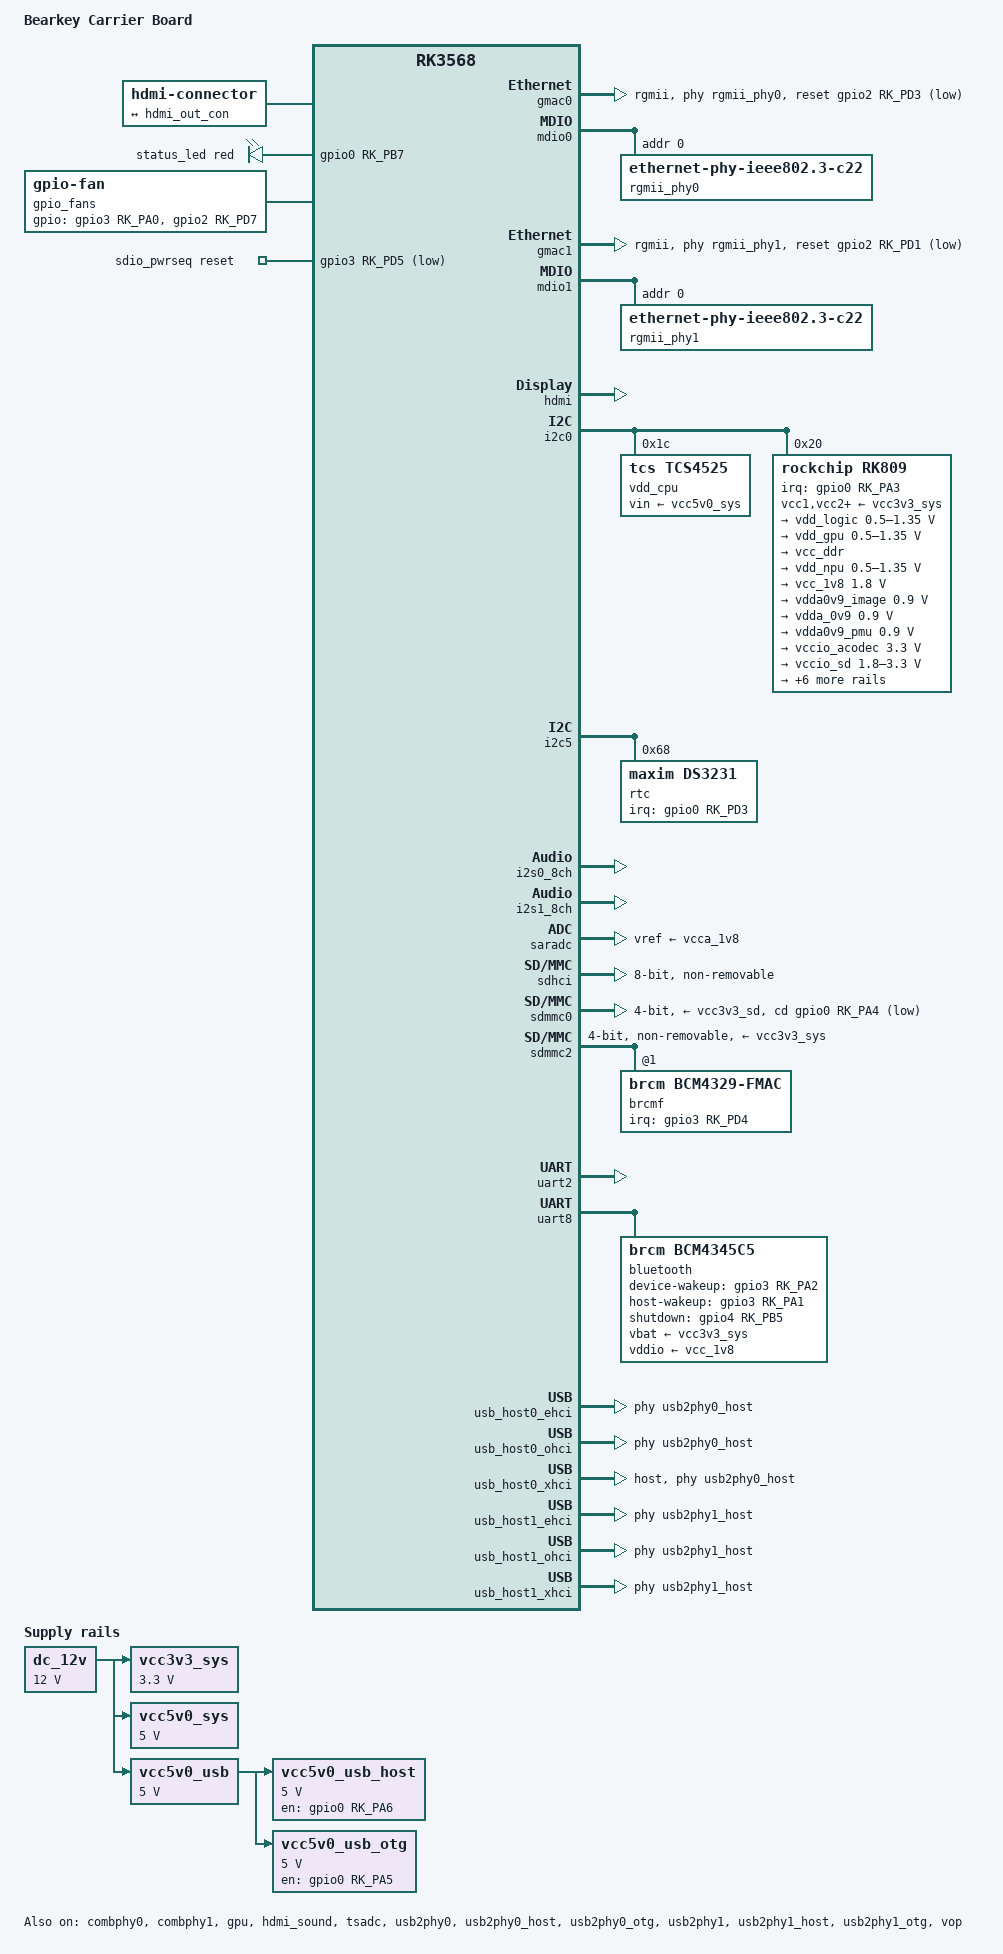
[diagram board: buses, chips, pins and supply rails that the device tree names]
// SPDX-License-Identifier: (GPL-2.0+ OR MIT)
/*
 * Copyright (c) 2021 Rockchip Electronics Co., Ltd.
 *
 */

/dts-v1/;
#include <dt-bindings/gpio/gpio.h>
#include <dt-bindings/input/input.h>
#include <dt-bindings/leds/common.h>
#include <dt-bindings/pinctrl/rockchip.h>
#include <dt-bindings/soc/rockchip,vop2.h>
#include "rk3568.dtsi"

/ {
	model = "Bearkey Carrier Board";
	compatible = "bearkey,carrier-board", "rockchip,rk3568";

	aliases {
		ethernet0 = &gmac0;
		ethernet1 = &gmac1;
		mmc0 = &sdmmc0;
		mmc1 = &sdhci;
	};

	chosen: chosen {
		stdout-path = "serial2:1500000n8";
	};

	dc_12v: regulator-dc-12v {
		compatible = "regulator-fixed";
		regulator-name = "dc_12v";
		regulator-always-on;
		regulator-boot-on;
		regulator-min-microvolt = <12000000>;
		regulator-max-microvolt = <12000000>;
	};

	hdmi-con {
		compatible = "hdmi-connector";
		type = "a";

		port {
			hdmi_con_in: endpoint {
				remote-endpoint = <&hdmi_out_con>;
			};
		};
	};

	leds {
		compatible = "gpio-leds";

		status_led: led-status {
			color = <LED_COLOR_ID_RED>;
			function = LED_FUNCTION_STATUS;
			gpios = <&gpio0 RK_PB7 GPIO_ACTIVE_HIGH>;
			linux,default-trigger = "default-on";
			pinctrl-names = "default";
			pinctrl-0 = <&status_led_pin>;
		};
	};

    // 合并的双风扇控制器节点
    gpio_fans: gpio-fans {
        compatible = "gpio-fan";
        // 指定两个GPIO引脚，顺序为 [MSB, LSB]。
        // 假设:
        //   gpios[0] (MSB): 风扇2 (GPIO3_A0)
        //   gpios[1] (LSB): 风扇1 (gpio2_D7)
        //   均为低电平有效
        gpios = <&gpio3 RK_PA0 GPIO_ACTIVE_HIGH>,
                <&gpio2 RK_PD7 GPIO_ACTIVE_HIGH>;

        // 速度映射表 (RPM 值仅为示意，可根据需要填写或保持为0)
        // 格式: <RPM> <Control Value>
        // Control Value 是一个位图，其二进制表示对应 gpios 数组的状态。
        // 位图: [风扇2, 风扇1]
        gpio-fan,speed-map = <
        /* RPM  Control Value (二进制) 状态
           0    0   (0b00) -> 两个风扇都关
           1    1   (0b01) -> 只有风扇1开
           2    2   (0b10) -> 只有风扇2开 (如果你的场景需要)
           3    3   (0b11) -> 两个风扇都开
        */
           0    0
           1    1
           2    2 // 这一级可选，如果不需要单独开风扇2，可以跳过
           3    3
        >;

        #cooling-cells = <2>; // 必须设置为2
    };

	vcc3v3_sys: regulator-vcc3v3-sys {
		compatible = "regulator-fixed";
		regulator-name = "vcc3v3_sys";
		regulator-always-on;
		regulator-boot-on;
		regulator-min-microvolt = <3300000>;
		regulator-max-microvolt = <3300000>;
		vin-supply = <&dc_12v>;
	};

	vcc5v0_sys: regulator-vcc5v0-sys {
		compatible = "regulator-fixed";
		regulator-name = "vcc5v0_sys";
		regulator-always-on;
		regulator-boot-on;
		regulator-min-microvolt = <5000000>;
		regulator-max-microvolt = <5000000>;
		vin-supply = <&dc_12v>;
	};

	vcc5v0_usb: regulator-vcc5v0-usb {
		compatible = "regulator-fixed";
		regulator-name = "vcc5v0_usb";
		regulator-always-on;
		regulator-boot-on;
		regulator-min-microvolt = <5000000>;
		regulator-max-microvolt = <5000000>;
		vin-supply = <&dc_12v>;
	};

	vcc5v0_usb_host: regulator-vcc5v0-usb-host {
		compatible = "regulator-fixed";
		enable-active-high;
		gpio = <&gpio0 RK_PA6 GPIO_ACTIVE_HIGH>;
		pinctrl-names = "default";
		pinctrl-0 = <&vcc5v0_usb_host_en>;
		regulator-name = "vcc5v0_usb_host";
		regulator-min-microvolt = <5000000>;
		regulator-max-microvolt = <5000000>;
		vin-supply = <&vcc5v0_usb>;
	};

	vcc5v0_usb_otg: regulator-vcc5v0-usb-otg {
		compatible = "regulator-fixed";
		enable-active-high;
		gpio = <&gpio0 RK_PA5 GPIO_ACTIVE_HIGH>;
		pinctrl-names = "default";
		pinctrl-0 = <&vcc5v0_usb_otg_en>;
		regulator-name = "vcc5v0_usb_otg";
		regulator-min-microvolt = <5000000>;
		regulator-max-microvolt = <5000000>;
		vin-supply = <&vcc5v0_usb>;
	};

	sdio_pwrseq: sdio-pwrseq {
		compatible = "mmc-pwrseq-simple";
		clocks = <&rk809 1>;
		clock-names = "ext_clock";
		pinctrl-names = "default";
		pinctrl-0 = <&wifi_reg_on_h>;
		post-power-on-delay-ms = <100>;
		power-off-delay-us = <5000000>;
		reset-gpios = <&gpio3 RK_PD5 GPIO_ACTIVE_LOW>;
	};
};

&combphy0 {
	// used for usb3.0 otg
	status = "okay";
};

&combphy1 {
	// used for usb3.0 host
	status = "okay";
};

&cpu_thermal {
	trips {
		cpu_warm: cpu_warm {
			temperature = <50000>;
			hysteresis = <5000>;
			type = "active";
		};
		cpu_hot: cpu_hot {
			temperature = <60000>;
			hysteresis = <3000>;
			type = "active";
		};
	};
	cooling-maps {
		// 映射1：50°C时，将冷却设备状态设置为1 (0b01 -> 仅风扇1开)
		map-pwm-fan-l0 {
			trip = <&cpu_warm>;
			cooling-device = <&gpio_fans 1 1>;
		};
		// 映射2：65°C时，将冷却设备状态设置为3 (0b11 -> 两个风扇都开)
		map-pwm-fan-l1 {
			trip = <&cpu_hot>;
			cooling-device = <&gpio_fans 3 3>;
		};
	};
};

&cpu0 {
	cpu-supply = <&vdd_cpu>;
};

&cpu1 {
	cpu-supply = <&vdd_cpu>;
};

&cpu2 {
	cpu-supply = <&vdd_cpu>;
};

&cpu3 {
	cpu-supply = <&vdd_cpu>;
};

// root@iStoreOS:/sys/devices/platform/fe2a0000.ethernet# cat rgmii_delayline 
// tx delayline: 0x24, rx delayline: 0x16
// Motorcomm YT8521
&gmac0 {
	assigned-clocks = <&cru SCLK_GMAC0_RX_TX>, <&cru SCLK_GMAC0>;
	assigned-clock-parents = <&cru SCLK_GMAC0_RGMII_SPEED>;
	assigned-clock-rates = <0>, <125000000>;
	clock_in_out = "output";
	phy-mode = "rgmii";
	pinctrl-names = "default";
	pinctrl-0 = <&gmac0_miim
		     &gmac0_tx_bus2
		     &gmac0_rx_bus2
		     &gmac0_rgmii_clk
		     &gmac0_rgmii_bus>;
	snps,reset-gpio = <&gpio2 RK_PD3 GPIO_ACTIVE_LOW>;
	snps,reset-active-low;
	snps,reset-delays-us = <0 20000 100000>;
	phy-handle = <&rgmii_phy0>;
//	tx_delay = <0x2d>;
//	rx_delay = <0x13>;
	tx_delay = <0x24>;
	rx_delay = <0x16>;
	status = "okay";
};

&mdio0 {
	rgmii_phy0: ethernet-phy@0 {
		compatible = "ethernet-phy-ieee802.3-c22";
		reg = <0>;
	};
};

// root@iStoreOS:/sys/devices/platform/fe010000.ethernet# cat rgmii_delayline 
// tx delayline: 0x27, rx delayline: 0x12
// Motorcomm YT8521
&gmac1 {
	assigned-clocks = <&cru SCLK_GMAC1_RX_TX>, <&cru SCLK_GMAC1>;
	assigned-clock-parents = <&cru SCLK_GMAC1_RGMII_SPEED>;
	assigned-clock-rates = <0>, <125000000>;
	clock_in_out = "output";
	phy-mode = "rgmii";
	pinctrl-names = "default";
	pinctrl-0 = <&gmac1m1_miim
		     &gmac1m1_tx_bus2
		     &gmac1m1_rx_bus2
		     &gmac1m1_rgmii_clk
		     &gmac1m1_rgmii_bus>;
	snps,reset-gpio = <&gpio2 RK_PD1 GPIO_ACTIVE_LOW>;
	snps,reset-active-low;
	snps,reset-delays-us = <0 20000 100000>;
	phy-handle = <&rgmii_phy1>;
//	tx_delay = <0x37>;
//	rx_delay = <0x0f>;
	tx_delay = <0x27>;
	rx_delay = <0x12>;
	status = "okay";
};

&mdio1 {
	rgmii_phy1: ethernet-phy@0 {
		compatible = "ethernet-phy-ieee802.3-c22";
		reg = <0>;
	};
};

&gpu {
	mali-supply = <&vdd_gpu>;
	status = "okay";
};

&hdmi {
	avdd-0v9-supply = <&vdda0v9_image>;
	avdd-1v8-supply = <&vcca1v8_image>;
	status = "okay";
};

&hdmi_in {
	hdmi_in_vp0: endpoint {
		remote-endpoint = <&vp0_out_hdmi>;
	};
};

&hdmi_out {
	hdmi_out_con: endpoint {
		remote-endpoint = <&hdmi_con_in>;
	};
};

&hdmi_sound {
	status = "okay";
};

&i2c0 {
	status = "okay";

	vdd_cpu: regulator@1c {
		compatible = "tcs,tcs4525";
		reg = <0x1c>;
		fcs,suspend-voltage-selector = <1>;
		regulator-name = "vdd_cpu";
		regulator-always-on;
		regulator-boot-on;
		regulator-min-microvolt = <800000>;
		regulator-max-microvolt = <1150000>;
		regulator-ramp-delay = <2300>;
		vin-supply = <&vcc5v0_sys>;

		regulator-state-mem {
			regulator-off-in-suspend;
		};
	};

	rk809: pmic@20 {
		compatible = "rockchip,rk809";
		reg = <0x20>;
		interrupt-parent = <&gpio0>;
		interrupts = <RK_PA3 IRQ_TYPE_LEVEL_LOW>;
		assigned-clocks = <&cru I2S1_MCLKOUT_TX>;
		assigned-clock-parents = <&cru CLK_I2S1_8CH_TX>;
		#clock-cells = <1>;
		clock-names = "mclk";
		clocks = <&cru I2S1_MCLKOUT_TX>;
		pinctrl-names = "default";
		pinctrl-0 = <&pmic_int>, <&i2s1m0_mclk>;
		system-power-controller;
		#sound-dai-cells = <0>;
		vcc1-supply = <&vcc3v3_sys>;
		vcc2-supply = <&vcc3v3_sys>;
		vcc3-supply = <&vcc3v3_sys>;
		vcc4-supply = <&vcc3v3_sys>;
		vcc5-supply = <&vcc3v3_sys>;
		vcc6-supply = <&vcc3v3_sys>;
		vcc7-supply = <&vcc3v3_sys>;
		vcc8-supply = <&vcc3v3_sys>;
		vcc9-supply = <&vcc3v3_sys>;
		wakeup-source;

		regulators {
			vdd_logic: DCDC_REG1 {
				regulator-name = "vdd_logic";
				regulator-always-on;
				regulator-boot-on;
				regulator-initial-mode = <0x2>;
				regulator-min-microvolt = <500000>;
				regulator-max-microvolt = <1350000>;
				regulator-ramp-delay = <6001>;

				regulator-state-mem {
					regulator-off-in-suspend;
				};
			};

			vdd_gpu: DCDC_REG2 {
				regulator-name = "vdd_gpu";
				regulator-always-on;
				regulator-initial-mode = <0x2>;
				regulator-min-microvolt = <500000>;
				regulator-max-microvolt = <1350000>;
				regulator-ramp-delay = <6001>;

				regulator-state-mem {
					regulator-off-in-suspend;
				};
			};

			vcc_ddr: DCDC_REG3 {
				regulator-name = "vcc_ddr";
				regulator-always-on;
				regulator-boot-on;
				regulator-initial-mode = <0x2>;

				regulator-state-mem {
					regulator-on-in-suspend;
				};
			};

			vdd_npu: DCDC_REG4 {
				regulator-name = "vdd_npu";
				regulator-initial-mode = <0x2>;
				regulator-min-microvolt = <500000>;
				regulator-max-microvolt = <1350000>;
				regulator-ramp-delay = <6001>;

				regulator-state-mem {
					regulator-off-in-suspend;
				};
			};

			vcc_1v8: DCDC_REG5 {
				regulator-name = "vcc_1v8";
				regulator-always-on;
				regulator-boot-on;
				regulator-min-microvolt = <1800000>;
				regulator-max-microvolt = <1800000>;

				regulator-state-mem {
					regulator-off-in-suspend;
				};
			};

			vdda0v9_image: LDO_REG1 {
				regulator-name = "vdda0v9_image";
				regulator-min-microvolt = <900000>;
				regulator-max-microvolt = <900000>;

				regulator-state-mem {
					regulator-off-in-suspend;
				};
			};

			vdda_0v9: LDO_REG2 {
				regulator-name = "vdda_0v9";
				regulator-always-on;
				regulator-boot-on;
				regulator-min-microvolt = <900000>;
				regulator-max-microvolt = <900000>;

				regulator-state-mem {
					regulator-off-in-suspend;
				};
			};

			vdda0v9_pmu: LDO_REG3 {
				regulator-name = "vdda0v9_pmu";
				regulator-always-on;
				regulator-boot-on;
				regulator-min-microvolt = <900000>;
				regulator-max-microvolt = <900000>;

				regulator-state-mem {
					regulator-on-in-suspend;
					regulator-suspend-microvolt = <900000>;
				};
			};

			vccio_acodec: LDO_REG4 {
				regulator-name = "vccio_acodec";
				regulator-always-on;
				regulator-min-microvolt = <3300000>;
				regulator-max-microvolt = <3300000>;

				regulator-state-mem {
					regulator-off-in-suspend;
				};
			};

			vccio_sd: LDO_REG5 {
				regulator-name = "vccio_sd";
				regulator-min-microvolt = <1800000>;
				regulator-max-microvolt = <3300000>;

				regulator-state-mem {
					regulator-off-in-suspend;
				};
			};

			vcc3v3_pmu: LDO_REG6 {
				regulator-name = "vcc3v3_pmu";
				regulator-always-on;
				regulator-boot-on;
				regulator-min-microvolt = <3300000>;
				regulator-max-microvolt = <3300000>;

				regulator-state-mem {
					regulator-on-in-suspend;
					regulator-suspend-microvolt = <3300000>;
				};
			};

			vcca_1v8: LDO_REG7 {
				regulator-name = "vcca_1v8";
				regulator-always-on;
				regulator-boot-on;
				regulator-min-microvolt = <1800000>;
				regulator-max-microvolt = <1800000>;

				regulator-state-mem {
					regulator-off-in-suspend;
				};
			};

			vcca1v8_pmu: LDO_REG8 {
				regulator-name = "vcca1v8_pmu";
				regulator-always-on;
				regulator-boot-on;
				regulator-min-microvolt = <1800000>;
				regulator-max-microvolt = <1800000>;

				regulator-state-mem {
					regulator-on-in-suspend;
					regulator-suspend-microvolt = <1800000>;
				};
			};

			vcca1v8_image: LDO_REG9 {
				regulator-name = "vcca1v8_image";
				regulator-min-microvolt = <1800000>;
				regulator-max-microvolt = <1800000>;

				regulator-state-mem {
					regulator-off-in-suspend;
				};
			};

			vcc_3v3: SWITCH_REG1 {
				regulator-name = "vcc_3v3";
				regulator-always-on;
				regulator-boot-on;

				regulator-state-mem {
					regulator-off-in-suspend;
				};
			};

			vcc3v3_sd: SWITCH_REG2 {
				regulator-name = "vcc3v3_sd";

				regulator-state-mem {
					regulator-off-in-suspend;
				};
			};
		};

		codec {
			rockchip,mic-in-differential;
		};
	};
};

// RTC DS3231
&i2c5 {
    status = "okay";

	rtc@68 {
		compatible = "maxim,ds3231";
		reg = <0x68>;
		interrupt-parent = <&gpio0>;
		interrupts = <RK_PD3 IRQ_TYPE_LEVEL_LOW>;
		#clock-cells = <0>;
		clock-output-names = "rtcic_32kout";
		pinctrl-names = "default";
		pinctrl-0 = <&rtcic_int_l>;
		wakeup-source;
		status = "okay";
	};
};

// for hdmi_sound
&i2s0_8ch {
	status = "okay";
};

// for rk809 audio output
&i2s1_8ch {
	pinctrl-names = "default";
	pinctrl-0 = <&i2s1m0_sclktx
		     &i2s1m0_lrcktx
		     &i2s1m0_sdi0
		     &i2s1m0_sdo0>;
	rockchip,trcm-sync-tx-only;
	status = "okay";
};

&pinctrl {
	bluetooth {
		bt_reg_on_h: bt-reg-on-h {
			rockchip,pins = <4 RK_PB5 RK_FUNC_GPIO &pcfg_pull_none>;
		};

		bt_host_wake_h: bt-host-wake-h {
			rockchip,pins = <3 RK_PA2 RK_FUNC_GPIO &pcfg_pull_none>;
		};

		bt_wake_host_h: bt-wake-host-h {
			rockchip,pins = <3 RK_PA1 RK_FUNC_GPIO &pcfg_pull_none>;
		};
	};

	leds {
		status_led_pin: status-led-pin {
			rockchip,pins = <0 RK_PB7 RK_FUNC_GPIO &pcfg_pull_none>;
		};
	};

	pmic {
		pmic_int: pmic_int {
			rockchip,pins =
				<0 RK_PA3 RK_FUNC_GPIO &pcfg_pull_up>;
		};
	};

	rtc {
		rtcic_int_l: rtcic-int-l {
			rockchip,pins = <0 RK_PD3 RK_FUNC_GPIO &pcfg_pull_up>;
		};
	};

	usb {
		vcc5v0_usb_host_en: vcc5v0_usb_host_en {
			rockchip,pins = <0 RK_PA6 RK_FUNC_GPIO &pcfg_pull_none>;
		};
		vcc5v0_usb_otg_en: vcc5v0_usb_otg_en {
			rockchip,pins = <0 RK_PA5 RK_FUNC_GPIO &pcfg_pull_none>;
		};
	};

	wifi {
		wifi_reg_on_h: wifi-reg-on-h {
			rockchip,pins = <3 RK_PD5 RK_FUNC_GPIO &pcfg_pull_none>;
		};

		wifi_host_wake_h:wifi-host-wake-h {
			rockchip,pins = <3 RK_PD4 RK_FUNC_GPIO &pcfg_pull_none>;
		};
	};
};

&pmu_io_domains {
	pmuio1-supply = <&vcc3v3_pmu>;
	pmuio2-supply = <&vcc3v3_pmu>;
	vccio1-supply = <&vccio_acodec>;
	vccio2-supply = <&vcc_1v8>;
	vccio3-supply = <&vccio_sd>;
	vccio4-supply = <&vcc_1v8>;
	vccio5-supply = <&vcc_3v3>;
	vccio6-supply = <&vcc_1v8>;
	vccio7-supply = <&vcc_3v3>;
	status = "okay";
};

&saradc {
	vref-supply = <&vcca_1v8>;
	status = "okay";
};

// eMMC interface
&sdhci {
	bus-width = <8>;
	max-frequency = <200000000>;
	non-removable;
	pinctrl-names = "default";
	pinctrl-0 = <&emmc_bus8 &emmc_clk &emmc_cmd &emmc_datastrobe>;
	status = "okay";
};

// SD card interface
&sdmmc0 {
	bus-width = <4>;
	cap-sd-highspeed;
	cd-gpios = <&gpio0 RK_PA4 GPIO_ACTIVE_LOW>;
	disable-wp;
	pinctrl-names = "default";
	pinctrl-0 = <&sdmmc0_bus4 &sdmmc0_clk &sdmmc0_cmd &sdmmc0_det>;
	sd-uhs-sdr104;
	vmmc-supply = <&vcc3v3_sd>;
	vqmmc-supply = <&vccio_sd>;
	status = "okay";
};

// SDIO interface for WiFi
&sdmmc2 {
	bus-width = <4>;
	disable-wp;
	cap-sd-highspeed;
	cap-sdio-irq;
	keep-power-in-suspend;
	mmc-pwrseq = <&sdio_pwrseq>;
	non-removable;
	pinctrl-names = "default";
	pinctrl-0 = <&sdmmc2m0_bus4 &sdmmc2m0_cmd &sdmmc2m0_clk>;
	sd-uhs-sdr104;
	vmmc-supply = <&vcc3v3_sys>;
	vqmmc-supply = <&vcc_1v8>;
	status = "okay";

	brcmf: wifi@1 {
		compatible = "brcm,bcm4329-fmac";
		reg = <1>;
		interrupt-parent = <&gpio3>;
		interrupts = <RK_PD4 IRQ_TYPE_LEVEL_HIGH>;
		interrupt-names = "host-wake";
		pinctrl-names = "default";
		pinctrl-0 = <&wifi_host_wake_h>;
	};
};

&tsadc {
	rockchip,hw-tshut-mode = <1>;
	rockchip,hw-tshut-polarity = <0>;
	status = "okay";
};

// UART interfaces
&uart2 {
	status = "okay";
};

// Bluetooth module on UART8
&uart8 {
	pinctrl-names = "default";
	pinctrl-0 = <&uart8m0_xfer &uart8m0_ctsn &uart8m0_rtsn>;
	uart-has-rtscts;
	status = "okay";

	bluetooth {
		compatible = "brcm,bcm4345c5";
		clocks = <&rk809 1>;
		clock-names = "lpo";
		device-wakeup-gpios = <&gpio3 RK_PA2 GPIO_ACTIVE_HIGH>;
		host-wakeup-gpios = <&gpio3 RK_PA1 GPIO_ACTIVE_HIGH>;
		shutdown-gpios = <&gpio4 RK_PB5 GPIO_ACTIVE_HIGH>;
		pinctrl-names = "default";
		pinctrl-0 = <&bt_host_wake_h &bt_wake_host_h &bt_reg_on_h>;
		vbat-supply = <&vcc3v3_sys>;
		vddio-supply = <&vcc_1v8>;
		/* vddio comes from regulator on module, use IO bank voltage instead */
	};
};

&usb_host0_ehci {
	status = "okay";
    phys = <&usb2phy0_host>;
    phy-names = "usb";
};

&usb_host0_ohci {
	status = "okay";
    phys = <&usb2phy0_host>;
    phy-names = "usb";
};

&usb_host0_xhci {
	status = "okay";
	dr_mode = "host";
	phys = <&usb2phy0_host>, <&combphy0 PHY_TYPE_USB3>;
	phy-names = "usb2-phy", "usb3-phy";
};

&usb_host1_ehci {
	status = "okay";
    phys = <&usb2phy1_host>;
    phy-names = "usb";
};

&usb_host1_ohci {
	status = "okay";
    phys = <&usb2phy1_host>;
    phy-names = "usb";
};

&usb_host1_xhci {
	status = "okay";
    // 修复：使用 usb2phy1_host 而不是 usb2phy0_host
    phys = <&usb2phy1_host>, <&combphy1 PHY_TYPE_USB3>;
    phy-names = "usb2-phy", "usb3-phy";
    // 移除错误的 extcon 配置
    /delete-property/ extcon;
};

&usb2phy0 {
	status = "okay";
};

&usb2phy0_host {
	phy-supply = <&vcc5v0_usb_otg>;
	status = "okay";
};

&usb2phy0_otg {
	phy-supply = <&vcc5v0_usb_otg>;
	status = "okay";
};

&usb2phy1 {
	status = "okay";
};

&usb2phy1_host {
	phy-supply = <&vcc5v0_usb_host>;
	status = "okay";
};

&usb2phy1_otg {
	phy-supply = <&vcc5v0_usb_host>;
	status = "okay";
};

&vop {
	assigned-clocks = <&cru DCLK_VOP0>, <&cru PLL_VPLL>, <&cru DCLK_VOP1>;
	assigned-clock-parents = <&pmucru PLL_HPLL>, <&xin24m>, <&cru PLL_VPLL>;
	assigned-clock-rates = <0>, <132000000>, <132000000>;
	status = "okay";
};

&vop_mmu {
	status = "okay";
};

&vp0 {
	vp0_out_hdmi: endpoint@ROCKCHIP_VOP2_EP_HDMI0 {
		reg = <ROCKCHIP_VOP2_EP_HDMI0>;
		remote-endpoint = <&hdmi_in_vp0>;
	};
};
